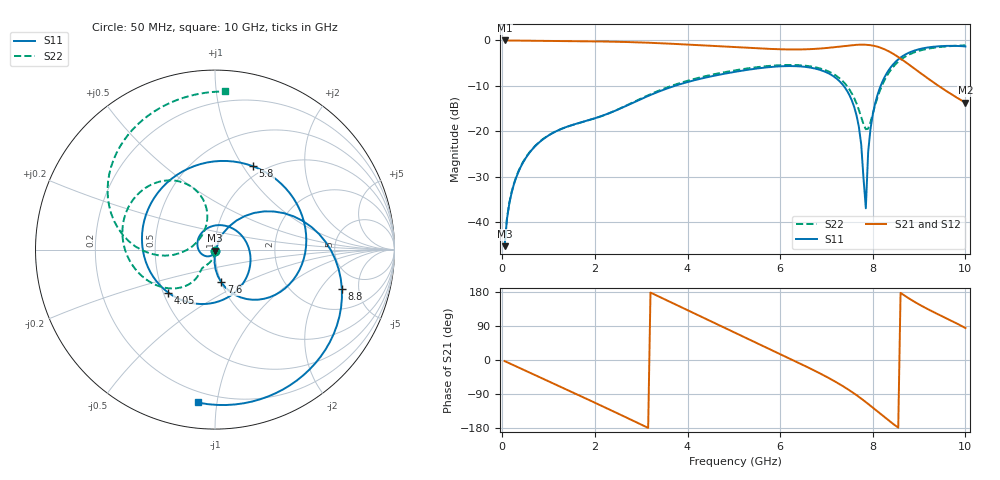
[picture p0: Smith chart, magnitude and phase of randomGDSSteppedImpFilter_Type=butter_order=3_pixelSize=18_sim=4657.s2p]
! freq	dB(S11)	phase(S11)	dB(S12)	phase(S12)
!  dB(S21)	phase(S21)	dB(S22)	phase(S22)
!S-par simulation data
#  GHz  S  DB  R 50
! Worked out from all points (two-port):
!   200 points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, 50 MHz to 10 GHz, reference 50 ohm
!   highest |S21| = -0.01 dB at 50 MHz (marker M1); lowest = -13.7 dB at 10 GHz (marker M2)
!   |S21| within 3 dB of the highest: start of sweep to 8.451 GHz
!   lowest |S11| = -45.2 dB at 50 MHz (marker M3), VSWR 1.01, Z = 50.1 - j0.543 ohm
!   |S11| at or under -10 dB: start of sweep to 3.723 GHz; 7.371 GHz to 8.17 GHz (799.4 MHz wide, 10.3 % of centre)
!   |S22| runs from -45.0 to -1.1 dB; largest |S21 - S12| = 0
!   S11 on the Smith chart (normalised r, x): 50 MHz: 1.00, -0.01; 4.05 GHz: 0.53, -0.29; 5.8 GHz: 0.89, +1.11; 7.6 GHz: 1.00, -0.38; 8.8 GHz: 3.39, -3.26; 10 GHz: 0.14, -0.88
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0.05  -45.22 -81.3  -0.01 -2.9  -0.01 -2.9  -44.98 -78.1
0.2  -33.52 -103.7  -0.03 -11.3  -0.03 -11.3  -33.36 -92.9
0.5  -25.95 -132.2  -0.05 -28.2  -0.05 -28.2  -25.84 -103.8
1.15  -20.03 168.2  -0.12 -64.7  -0.12 -64.7  -20.01 -119.2
1.75  -17.86 106.0  -0.19 -98.5  -0.19 -98.5  -17.90 -124.5
2.65  -14.51 2.5  -0.35 -150.1  -0.35 -150.1  -14.44 -123.2
3.4  -11.17 -75.8  -0.62 166.3  -0.62 166.3  -10.97 -131.8
4.05  -9.02 -137.5  -0.94 128.5  -0.94 128.5  -8.73 -145.6
4.55  -7.82 176.2  -1.21 99.5  -1.21 99.5  -7.49 -157.6
5.05  -6.87 130.7  -1.49 70.4  -1.49 70.4  -6.54 -170.2
5.8  -5.84 65.3  -1.88 27.1  -1.88 27.1  -5.57 168.5
6.7  -6.07 -6.0  -1.90 -25.5  -1.90 -25.5  -5.79 136.7
7.2  -8.24 -45.0  -1.46 -57.8  -1.46 -57.8  -7.70 115.2
7.6  -14.67 -79.3  -1.01 -88.5  -1.01 -88.5  -12.71 101.7
7.75  -22.82 -92.1  -0.94 -101.7  -0.94 -101.7  -16.84 109.8
7.85  -36.89 49.2  -0.96 -111.0  -0.96 -111.0  -19.52 135.8
7.9  -24.58 66.8  -1.00 -115.8  -1.00 -115.8  -19.39 155.2
8  -16.28 58.4  -1.14 -125.6  -1.14 -125.6  -16.10 -179.2
8.35  -6.45 22.9  -2.43 -160.2  -2.43 -160.2  -7.05 177.7
8.8  -2.62 -17.1  -5.45 161.0  -5.45 161.0  -3.04 147.7
9.45  -1.27 -60.9  -10.20 118.2  -10.20 118.2  -1.45 111.5
10  -1.34 -96.5  -13.70 84.4  -13.70 84.4  -1.08 86.2
